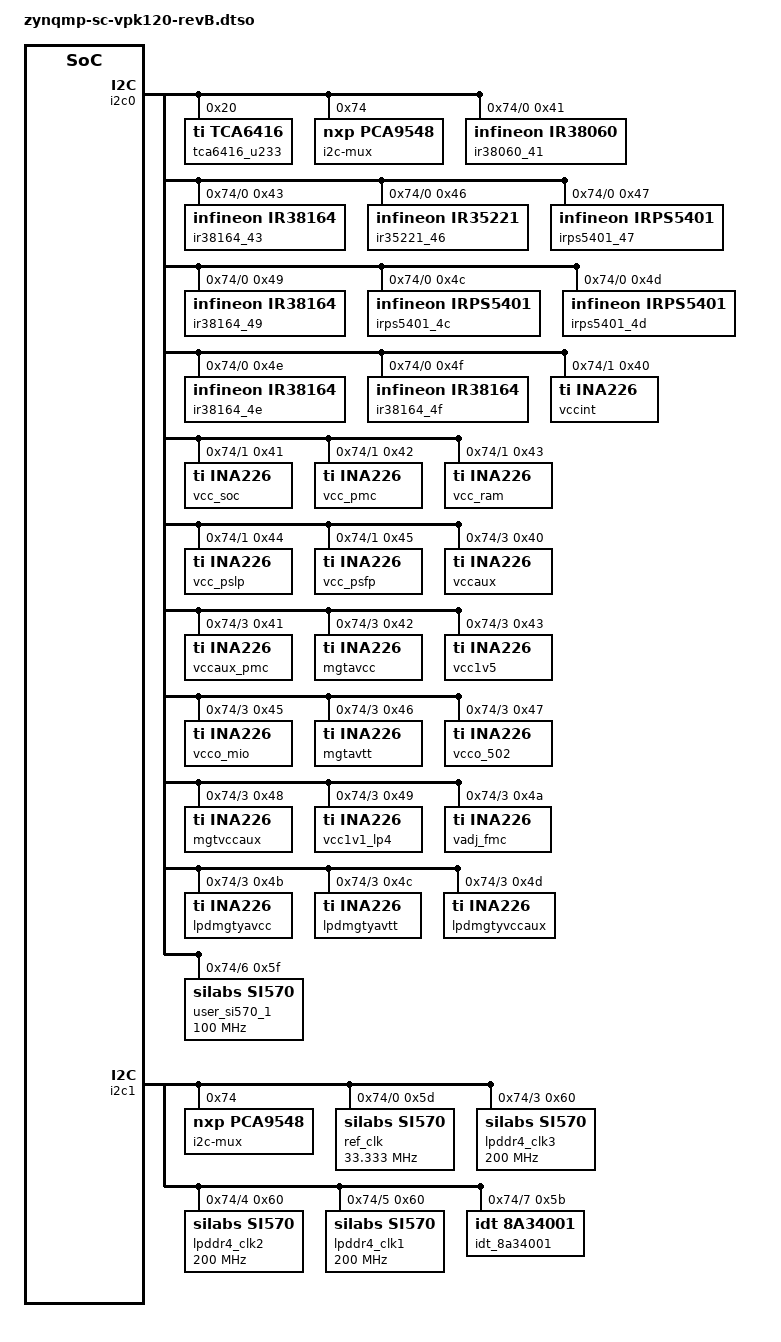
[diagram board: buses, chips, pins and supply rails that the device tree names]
// SPDX-License-Identifier: GPL-2.0
/*
 * dts file for Xilinx ZynqMP VPK120 revB
 *
 * (C) Copyright 2021 - 2022, Xilinx, Inc.
 * (C) Copyright 2022 - 2023, Advanced Micro Devices, Inc.
 *
 * Michal Simek <michal.simek@amd.com>
 */

#include <dt-bindings/gpio/gpio.h>

/dts-v1/;
/plugin/;

&{/} {
	compatible = "xlnx,zynqmp-sc-vpk120-revB", "xlnx,zynqmp-vpk120-revB",
		     "xlnx,zynqmp-vpk120", "xlnx,zynqmp";
};

&i2c0 {
	#address-cells = <1>;
	#size-cells = <0>;

	tca6416_u233: gpio@20 { /* u233 */
		compatible = "ti,tca6416";
		reg = <0x20>;
		gpio-controller; /* interrupt not connected */
		#gpio-cells = <2>;
		gpio-line-names = "", "", "QSFPDD1_MODSELL", "QSFPDD2_MODSELL", /* 0 - 3 */
				"PMBUS2_INA226_ALERT", "", "", "", /* 4 - 7 */
				"FMCP1_FMC_PRSNT_M2C_B", "", "FMCP1_FMCP_PRSNT_M2C_B", "", /* 10 - 13 */
				"VCCINT_VRHOT_B", "8A34001_EXP_RST_B", "PMBUS_ALERT", "PMBUS1_INA226_ALERT"; /* 14 - 17 */
	};

	i2c-mux@74 { /* u33 */
		compatible = "nxp,pca9548";
		#address-cells = <1>;
		#size-cells = <0>;
		reg = <0x74>;
		/* reset-gpios = <&gpio SYSCTLR_IIC_MUX0_RESET_B GPIO_ACTIVE_HIGH>; */
		pmbus_i2c: i2c@0 {
			#address-cells = <1>;
			#size-cells = <0>;
			reg = <0>;
			/* On connector J325 */
			ir38060_41: regulator@41 { /* IR38060 - u259 */
				compatible = "infineon,ir38060", "infineon,ir38064";
				reg = <0x41>; /* i2c addr 0x11 */
			};
			ir38164_43: regulator@43 { /* IR38164 - u13 */
				compatible = "infineon,ir38164";
				reg = <0x43>; /* i2c addr 0x13 */
			};
			ir35221_46: pmic@46 { /* IR35221 - u152 */
				compatible = "infineon,ir35221";
				reg = <0x46>; /* i2c addr - 0x16 */
			};
			irps5401_47: pmic5401@47 { /* IRPS5401 - u160 */
				compatible = "infineon,irps5401";
				reg = <0x47>; /* i2c addr 0x17 */
			};
			ir38164_49: regulator@49 { /* IR38164 - u189 */
				compatible = "infineon,ir38164";
				reg = <0x49>; /* i2c addr 0x19 */
			};
			irps5401_4c: pmic@4c { /* IRPS5401 - u167 */
				compatible = "infineon,irps5401";
				reg = <0x4c>; /* i2c addr 0x1c */
			};
			irps5401_4d: pmic@4d { /* IRPS5401 - u175 */
				compatible = "infineon,irps5401";
				reg = <0x4d>; /* i2c addr 0x1d */
			};
			ir38164_4e: regulator@4e { /* IR38164 - u185 */
				compatible = "infineon,ir38164";
				reg = <0x4e>; /* i2c addr 0x1e */
			};
			ir38164_4f: regulator@4f { /* IR38164 - u187 */
				compatible = "infineon,ir38164";
				reg = <0x4f>; /* i2c addr 0x1f */
			};
		};
		pmbus1_ina226_i2c: i2c@1 {
			#address-cells = <1>;
			#size-cells = <0>;
			reg = <1>;
			/* FIXME check alerts coming to SC */
			vccint: ina226@40 { /* u65 */
				compatible = "ti,ina226";
				reg = <0x40>;
				shunt-resistor = <5000>;
			};
			vcc_soc: ina226@41 { /* u161 */
				compatible = "ti,ina226";
				reg = <0x41>;
				shunt-resistor = <5000>;
			};
			vcc_pmc: ina226@42 { /* u163 */
				compatible = "ti,ina226";
				reg = <0x42>;
				shunt-resistor = <5000>;
			};
			vcc_ram: ina226@43 { /* u5 */
				compatible = "ti,ina226";
				reg = <0x43>;
				shunt-resistor = <5000>;
			};
			vcc_pslp: ina226@44 { /* u165 */
				compatible = "ti,ina226";
				reg = <0x44>;
				shunt-resistor = <5000>;
			};
			vcc_psfp: ina226@45 { /* u164 */
				compatible = "ti,ina226";
				reg = <0x45>;
				shunt-resistor = <5000>;
			};
		};
		i2c@2 { /* NC */ /* FIXME maybe remove */
			#address-cells = <1>;
			#size-cells = <0>;
			reg = <2>;
		};
		pmbus2_ina226_i2c: i2c@3 {
			#address-cells = <1>;
			#size-cells = <0>;
			reg = <3>;
			/* FIXME check alerts coming to SC */
			vccaux: ina226@40 { /* u166 */
				compatible = "ti,ina226";
				reg = <0x40>;
				shunt-resistor = <5000>;
			};
			vccaux_pmc: ina226@41 { /* u168 */
				compatible = "ti,ina226";
				reg = <0x41>;
				shunt-resistor = <5000>;
			};
			mgtavcc: ina226@42 { /* u265 */
				compatible = "ti,ina226";
				reg = <0x42>;
				shunt-resistor = <5000>;
			};
			vcc1v5: ina226@43 { /* u264 */
				compatible = "ti,ina226";
				reg = <0x43>;
				shunt-resistor = <5000>;
			};
			vcco_mio: ina226@45 { /* u172 */
				compatible = "ti,ina226";
				reg = <0x45>;
				shunt-resistor = <5000>;
			};
			mgtavtt: ina226@46 { /* u188 */
				compatible = "ti,ina226";
				reg = <0x46>;
				shunt-resistor = <2000>;
			};
			vcco_502: ina226@47 { /* u174 */
				compatible = "ti,ina226";
				reg = <0x47>;
				shunt-resistor = <5000>;
			};
			mgtvccaux: ina226@48 { /* u176 */
				compatible = "ti,ina226";
				reg = <0x48>;
				shunt-resistor = <5000>;
			};
			vcc1v1_lp4: ina226@49 { /* u186 */
				compatible = "ti,ina226";
				reg = <0x49>;
				shunt-resistor = <2000>;
			};
			vadj_fmc: ina226@4a { /* u184 */
				compatible = "ti,ina226";
				reg = <0x4a>;
				shunt-resistor = <2000>;
			};
			lpdmgtyavcc: ina226@4b { /* u177 */
				compatible = "ti,ina226";
				reg = <0x4b>;
				shunt-resistor = <5000>;
			};
			lpdmgtyavtt: ina226@4c { /* u260 */
				compatible = "ti,ina226";
				reg = <0x4c>;
				shunt-resistor = <2000>;
			};
			lpdmgtyvccaux: ina226@4d { /* u234 */
				compatible = "ti,ina226";
				reg = <0x4d>;
				shunt-resistor = <5000>;
			};
		};
		i2c@4 { /* NC */
			#address-cells = <1>;
			#size-cells = <0>;
			reg = <4>;
		};
		i2c@5 { /* NC */
			#address-cells = <1>;
			#size-cells = <0>;
			reg = <5>;
		};
		user_si570: i2c@6 {
			#address-cells = <1>;
			#size-cells = <0>;
			reg = <6>;
			user_si570_1: clock-generator@5f { /* USER C0 SI570 - u205 */
				#clock-cells = <0>;
				compatible = "silabs,si570";
				reg = <0x5f>;
				temperature-stability = <50>;
				factory-fout = <100000000>;
				clock-frequency = <100000000>;
				clock-output-names = "fmc_si570";
				silabs,skip-recall;
			};

		};
		/* 7 unused */
	};
};

&i2c1 {
	#address-cells = <1>;
	#size-cells = <0>;

	i2c-mux@74 { /* u35 */
		compatible = "nxp,pca9548";
		#address-cells = <1>;
		#size-cells = <0>;
		reg = <0x74>;
		/* reset-gpios = <&gpio SYSCTLR_IIC_MUX1_RESET_B GPIO_ACTIVE_HIGH>; */
		ref_clk_i2c: i2c@0 {
			#address-cells = <1>;
			#size-cells = <0>;
			reg = <0>;
			ref_clk: clock-generator@5d { /* u32 */
				#clock-cells = <0>;
				compatible = "silabs,si570";
				reg = <0x5d>;
				temperature-stability = <50>;
				factory-fout = <33333333>;
				clock-frequency = <33333333>;
				clock-output-names = "ref_clk";
				silabs,skip-recall;
			};
		};
		fmcp1_i2c: i2c@1 {
			#address-cells = <1>;
			#size-cells = <0>;
			reg = <1>;
			/* FIXME connection to Samtec J51C */
			/* expected eeprom 0x50 SE cards */
		};
		i2c@2 { /* NC - FIXME */
			#address-cells = <1>;
			#size-cells = <0>;
			reg = <2>;
		};
		lpddr4_si570_clk3_i2c: i2c@3 {
			#address-cells = <1>;
			#size-cells = <0>;
			reg = <3>;
			lpddr4_clk3: clock-generator@60 { /* u4 */
				#clock-cells = <0>;
				compatible = "silabs,si570";
				reg = <0x60>;
				temperature-stability = <50>;
				factory-fout = <200000000>;
				clock-frequency = <200000000>;
				clock-output-names = "lpddr4_clk3";
				silabs,skip-recall;
			};
		};
		lpddr4_si570_clk2_i2c: i2c@4 {
			#address-cells = <1>;
			#size-cells = <0>;
			reg = <4>;
			lpddr4_clk2: clock-generator@60 { /* u3 */
				#clock-cells = <0>;
				compatible = "silabs,si570";
				reg = <0x60>;
				temperature-stability = <50>;
				factory-fout = <200000000>;
				clock-frequency = <200000000>;
				clock-output-names = "lpddr4_clk2";
				silabs,skip-recall;
			};
		};
		lpddr4_si570_clk1_i2c: i2c@5 {
			#address-cells = <1>;
			#size-cells = <0>;
			reg = <5>;
			lpddr4_clk1: clock-generator@60 { /* u248 */
				#clock-cells = <0>;
				compatible = "silabs,si570";
				reg = <0x60>;
				temperature-stability = <50>;
				factory-fout = <200000000>;
				clock-frequency = <200000000>;
				clock-output-names = "lpddr4_clk1";
				silabs,skip-recall;
			};
		};
		qsfpdd_i2c: i2c@6 {
			#address-cells = <1>;
			#size-cells = <0>;
			reg = <6>;
			/* J1/J2 connectors */
		};
		idt8a34001_i2c: i2c@7 {
			#address-cells = <1>;
			#size-cells = <0>;
			reg = <7>;
			/* Via J310 connector */
			idt_8a34001: phc@5b {
				compatible = "idt,8a34001"; /* u219B */
				reg = <0x5b>; /* FIXME not in schematics */
			};
		};
	};
};
